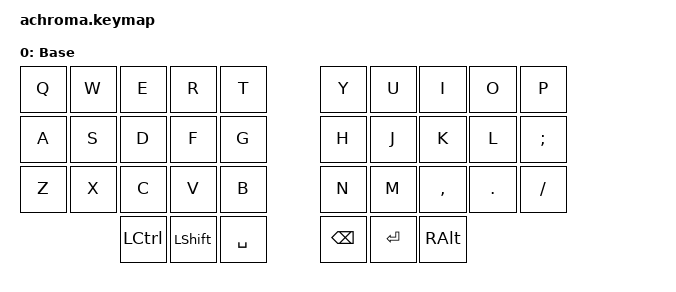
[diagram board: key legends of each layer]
#include <behaviors.dtsi>
#include <dt-bindings/zmk/keys.h>
#include <dt-bindings/zmk/bt.h>
#include <dt-bindings/zmk/outputs.h>
#include <dt-bindings/zmk/ext_power.h>

/ {
    keymap {
        compatible = "zmk,keymap";

        default_layer {
            display-name = "Base";

            bindings = <
                // Left                                      Right
                &kp Q       &kp W       &kp E       &kp R       &kp T               &kp Y       &kp U       &kp I       &kp O       &kp P
                &kp A       &kp S       &kp D       &kp F       &kp G               &kp H       &kp J       &kp K       &kp L       &kp SEMI
                &kp Z       &kp X       &kp C       &kp V       &kp B               &kp N       &kp M       &kp COMMA   &kp DOT     &kp FSLH
                                        &kp LCTRL   &kp LSHIFT  &kp SPACE           &kp BSPC    &kp ENTER   &kp RALT
            >;
        };
    };
};
